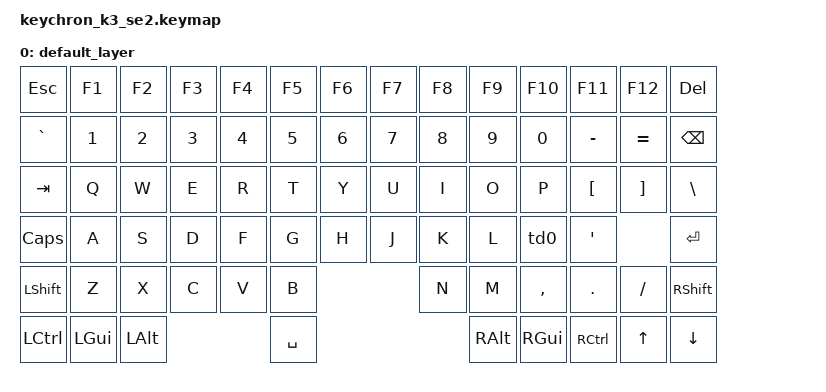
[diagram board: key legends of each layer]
#include <behaviors.dtsi>
#include <dt-bindings/zmk/keys.h>
#include <dt-bindings/zmk/bt.h>

/ {
    // 키크론 하드웨어에 키맵 크기를 알려주는 매트릭스 변환 매칭
    chosen {
        zmk,matrix-transform = &default_transform;
    };

    // 앞으로 탭댄스, 모드탭 등을 선언할 공간입니다.
    behaviors {
        // 예시: 탭댄스 설정 (한 번 누르면 SEMI, 두 번 누르면 COLON)
        td0: tap_dance_0 {
            compatible = "zmk,behavior-tap-dance";
            #binding-cells = <0>;
            tapping-term-ms = <200>;
            bindings = <&kp SEMI>, <&kp COLON>;
        };
    };

    // 실제 키 레이아웃 매핑 공간 (기본 레이어 0번 예시)
    keymap {
        compatible = "zmk,keymap";

        default_layer {
            bindings = <
                &kp ESC  &kp F1   &kp F2   &kp F3   &kp F4   &kp F5   &kp F6   &kp F7   &kp F8   &kp F9   &kp F10  &kp F11  &kp F12  &kp DEL
                &kp GRAVE &kp N1   &kp N2   &kp N3   &kp N4   &kp N5   &kp N6   &kp N7   &kp N8   &kp N9   &kp N0   &kp MINUS &kp EQUAL &kp BSPC
                &kp TAB  &kp Q    &kp W    &kp E    &kp R    &kp T    &kp Y    &kp U    &kp I    &kp O    &kp P    &kp LBKT &kp RBKT &kp BSLH
                &kp CLCK &kp A    &kp S    &kp D    &kp F    &kp G    &kp H    &kp J    &kp K    &kp L    &td0     &kp SQT           &kp ENTER
                &kp LSHFT         &kp Z    &kp X    &kp C    &kp V    &kp B    &kp N    &kp M    &kp COMMA &kp DOT &kp FSLH          &kp RSHFT
                &kp LCTRL &kp LGUI &kp LALT                   &kp SPACE                      &kp RALT &kp RGUI &kp RCTRL &kp UP   &kp DOWN
            >;
        };
    };
};
